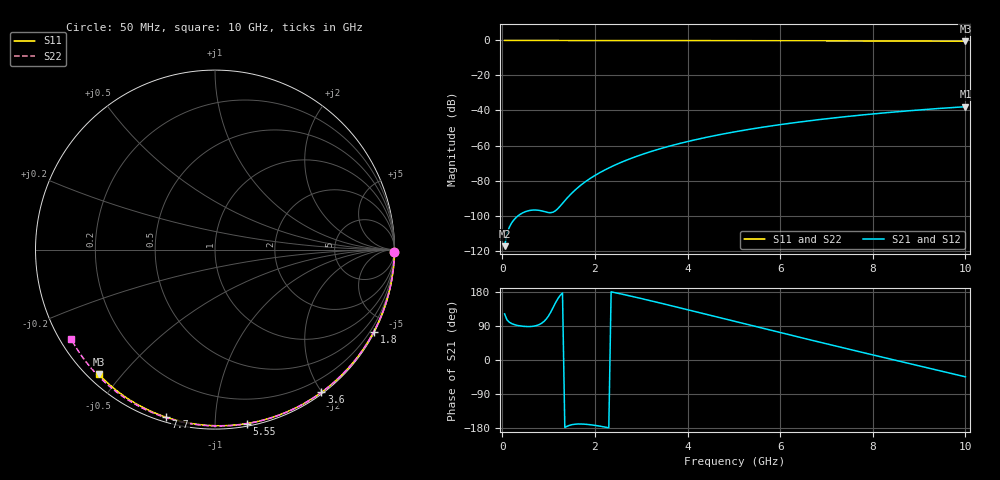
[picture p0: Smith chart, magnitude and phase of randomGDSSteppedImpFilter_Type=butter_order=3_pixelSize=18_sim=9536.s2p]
! freq	dB(S11)	phase(S11)	dB(S12)	phase(S12)
!  dB(S21)	phase(S21)	dB(S22)	phase(S22)
!S-par simulation data
#  GHz  S  DB  R 50
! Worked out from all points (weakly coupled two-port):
!   200 points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, 50 MHz to 10 GHz, reference 50 ohm
!   highest |S21| = -37.83 dB at 10 GHz (marker M1); lowest = -117.5 dB at 50 MHz (marker M2)
!   lowest |S11| = -0.5 dB at 10 GHz (marker M3), VSWR 38.55, Z = 1.54 - j21.7 ohm
!   |S11| at or under -10 dB: nowhere
!   |S22| runs from -0.5 to 0.0 dB; largest |S21 - S12| = 0
!   S11 on the Smith chart (normalised r, x): 50 MHz: open; 1.8 GHz: 0.04, -4.12; 3.6 GHz: 0.02, -1.99; 5.55 GHz: 0.02, -1.20; 7.7 GHz: 0.02, -0.75; 10 GHz: 0.03, -0.43
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0.05  -0.00 -0.8  -117.49 121.6  -117.49 121.6  -0.00 -0.9
0.45  -0.01 -6.9  -98.33 88.9  -98.33 88.9  -0.01 -7.7
0.9  -0.02 -13.8  -97.66 101.7  -97.66 101.7  -0.02 -15.3
1.3  -0.02 -19.8  -93.03 177.0  -93.03 177.0  -0.03 -22.0
1.75  -0.03 -26.5  -81.54 -169.2  -81.54 -169.2  -0.04 -29.4
1.8  -0.03 -27.3  -80.57 -169.6  -80.57 -169.6  -0.04 -30.3
1.85  -0.04 -28.0  -79.65 -170.1  -79.65 -170.1  -0.04 -31.1
2.05  -0.04 -31.0  -76.32 -173.4  -76.32 -173.4  -0.04 -34.4
2.2  -0.04 -33.2  -74.15 -176.6  -74.15 -176.6  -0.05 -36.8
2.55  -0.05 -38.3  -69.79 174.7  -69.79 174.7  -0.05 -42.5
2.95  -0.06 -44.1  -65.72 163.7  -65.72 163.7  -0.06 -48.8
3.4  -0.07 -50.5  -61.91 150.6  -61.91 150.6  -0.07 -55.9
3.6  -0.07 -53.3  -60.42 144.7  -60.42 144.7  -0.08 -59.0
4.3  -0.09 -63.0  -55.93 123.7  -55.93 123.7  -0.10 -69.7
5.05  -0.11 -73.1  -52.04 101.1  -52.04 101.1  -0.12 -80.8
5.55  -0.13 -79.6  -49.84 86.0  -49.84 86.0  -0.14 -88.0
6.1  -0.15 -86.6  -47.70 69.5  -47.70 69.5  -0.17 -95.7
6.7  -0.18 -94.1  -45.64 51.6  -45.64 51.6  -0.20 -104.0
7.7  -0.24 -106.3  -42.74 22.2  -42.74 22.2  -0.27 -117.5
8.35  -0.29 -114.0  -41.12 3.3  -41.12 3.3  -0.33 -126.2
9.2  -0.37 -123.8  -39.29 -21.3  -39.29 -21.3  -0.41 -137.4
10  -0.45 -133.0  -37.83 -44.4  -37.83 -44.4  -0.50 -148.0
